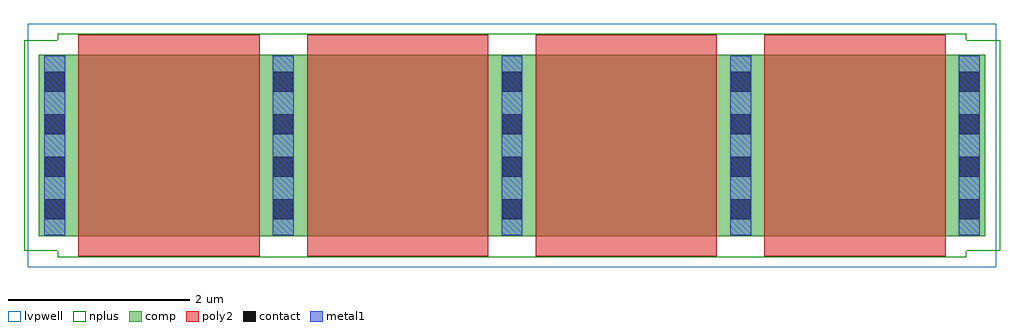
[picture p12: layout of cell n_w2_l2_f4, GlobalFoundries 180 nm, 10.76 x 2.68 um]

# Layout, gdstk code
import gdstk
lib = gdstk.Library(unit=1e-6, precision=1e-09)
def R(c, l, rs):  # rectangles x0, y0, x1, y1
    for r in rs: c.add(gdstk.rectangle(r[:2], r[2:], *l))
def A(c, l, x, y, w, h, nx, ny, dx, dy):  # array of equal rectangles
    R(c, l, [(x+i*dx, y+j*dy, x+i*dx+w, y+j*dy+h) for i in range(nx) for j in range(ny)])
comp = (22, 0)
poly2 = (30, 0)
nplus = (32, 0)
contact = (33, 0)
metal1 = (34, 0)
lvpwell = (204, 0)

n_w2_l2_f4 = lib.new_cell('n_w2_l2_f4')
R(n_w2_l2_f4, comp, [(-5.22,-1,5.22,1)])
A(n_w2_l2_f4, poly2, -4.78, -1.22, 2, 2.44, 4, 1, 2.52, 0)
R(n_w2_l2_f4, nplus, [(-5.01,-1.23,5.01,-1.16), (-5.38,-1.16,5.38,1.16), (-5.01,1.16,5.01,1.23)])
A(n_w2_l2_f4, contact, -5.15, -0.815, 0.22, 0.22, 5, 4, 2.52, 0.47)
A(n_w2_l2_f4, metal1, -5.155, -0.99, 0.23, 1.98, 5, 1, 2.52, 0)
R(n_w2_l2_f4, lvpwell, [(-5.34,-1.34,5.34,1.34)])

lib.write_gds('n_w2_l2_f4.gds')
